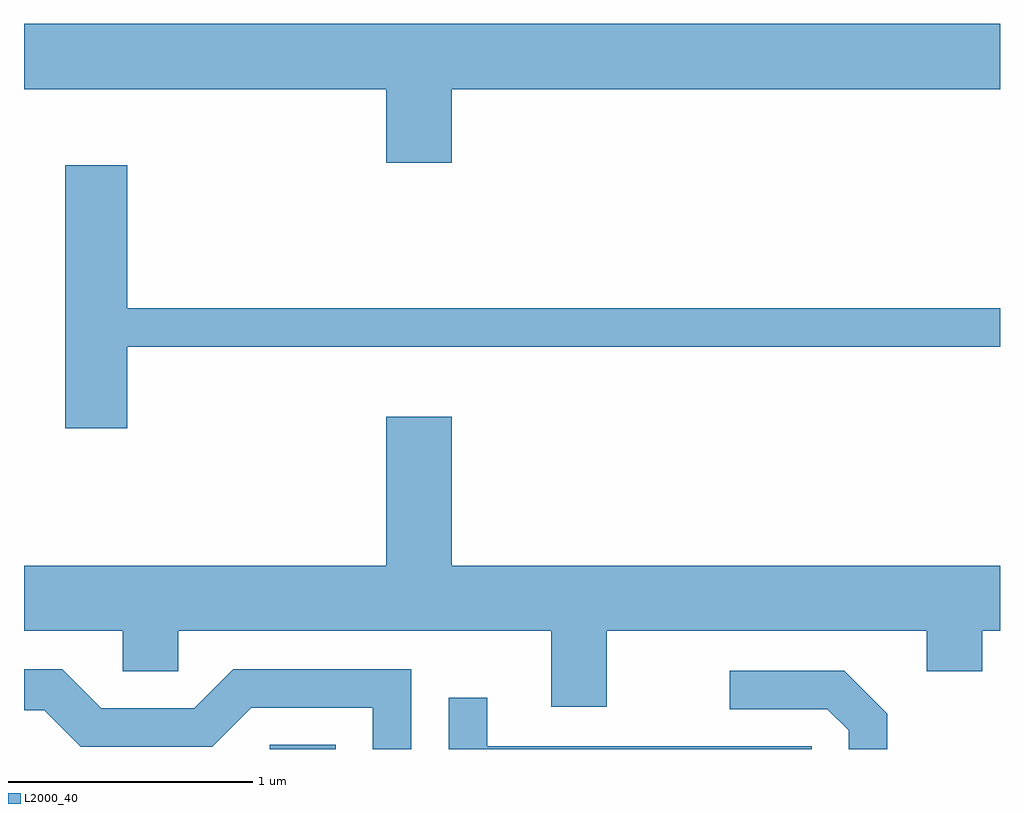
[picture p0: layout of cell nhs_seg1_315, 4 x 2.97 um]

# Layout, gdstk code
import gdstk
lib = gdstk.Library(unit=1e-6, precision=1e-09)
def R(c, l, rs):  # rectangles x0, y0, x1, y1
    for r in rs: c.add(gdstk.rectangle(r[:2], r[2:], *l))
def P(c, l, *ps):  # polygons
    for p in ps: c.add(gdstk.Polygon(p, *l))
L2000_40 = (2000, 40)

nhs_seg1_315 = lib.new_cell('nhs_seg1_315')
R(nhs_seg1_315, L2000_40, [(194.618,945.712,194.889,945.729)])
P(nhs_seg1_315, L2000_40, [(195.364,948.416),(197.611,948.416),(197.611,948.684),(193.611,948.684),(193.611,948.416),(195.096,948.416),(195.096,948.116),(195.364,948.116)],
  [(194.034,947.361),(197.611,947.361),(197.611,947.519),(194.034,947.519),(194.034,948.104),(193.781,948.104),(193.781,947.026),(194.034,947.026)],
  [(195.999,946.196),(197.311,946.196),(197.311,946.031),(197.539,946.031),(197.539,946.196),(197.611,946.196),(197.611,946.464),(195.364,946.464),(195.364,947.074),(195.096,947.074),(195.096,946.464),(193.611,946.464),(193.611,946.196),(194.016,946.196),(194.016,946.031),(194.244,946.031),(194.244,946.196),(195.771,946.196),(195.771,945.886),(195.999,945.886)],
  [(195.199,946.039),(194.469,946.039),(194.309,945.879),(193.927,945.879),(193.767,946.039),(193.611,946.039),(193.611,945.871),(193.694,945.871),(193.844,945.721),(194.382,945.721),(194.542,945.881),(195.041,945.881),(195.041,945.712),(195.199,945.712)],
  [(197.149,945.857),(196.972,946.034),(196.503,946.034),(196.503,945.876),(196.904,945.876),(196.991,945.789),(196.991,945.712),(197.149,945.712)],
  [(196.839,945.724),(195.509,945.724),(195.509,945.923),(195.351,945.923),(195.351,945.712),(196.839,945.712)])

lib.write_gds('nhs_seg1_315.gds')
